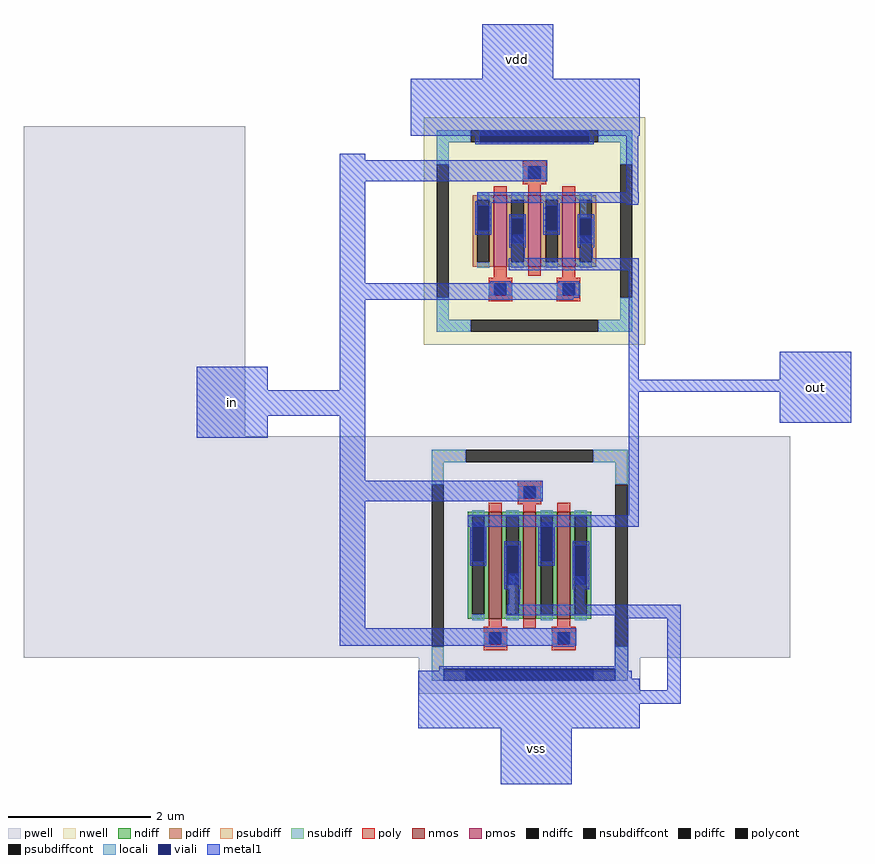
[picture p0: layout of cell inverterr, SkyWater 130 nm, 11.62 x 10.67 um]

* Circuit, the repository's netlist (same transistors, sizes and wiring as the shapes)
** sch_path: /home/Sagarikaa1/Lab1_and/xschem/inverterr.sch
.subckt inverterr vdd out in vss
*.ipin in
*.iopin vss
*.opin out
*.iopin vdd
XM1 out in vss vss sky130_fd_pr__nfet_01v8 L=0.18 W=4.5 nf=3 ad=0.87 as=0.87 pd=7.16 ps=7.16 nrd=0.0644444444444444
+ nrs=0.0644444444444444 sa=0 sb=0 sd=0 mult=1
XM2 out in vdd vdd sky130_fd_pr__pfet_01v8 L=0.18 W=3 nf=3 ad=0.58 as=0.58 pd=5.16 ps=5.16 nrd=0.0966666666666667
+ nrs=0.0966666666666667 sa=0 sb=0 sd=0 mult=1
.ends inverterr

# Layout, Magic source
magic
tech sky130A
magscale 1 2
<< pwell >>
rect -221 -346 401 525
rect -221 -968 1931 -346
<< locali >>
rect 1230 382 1246 410
rect 1342 268 1358 335
rect 1140 -862 1156 -738
<< metal1 >>
rect 1066 658 1266 812
rect 866 498 1508 658
rect 666 430 738 448
rect 666 370 1248 430
rect 666 84 738 370
rect 1470 340 1504 498
rect 1052 310 1506 340
rect 1470 305 1504 310
rect 1152 188 1182 220
rect 1148 184 1182 188
rect 1340 208 1374 218
rect 1148 154 1186 184
rect 1340 154 1376 208
rect 1140 120 1506 154
rect 666 38 1322 84
rect 264 -216 464 -150
rect 666 -216 738 38
rect 264 -288 738 -216
rect 264 -350 464 -288
rect 666 -470 738 -288
rect 1478 -187 1506 120
rect 1902 -187 2102 -108
rect 1478 -221 2102 -187
rect 666 -528 1236 -470
rect 666 -884 738 -528
rect 1478 -568 1506 -221
rect 1902 -308 2102 -221
rect 1026 -600 1506 -568
rect 1141 -818 1171 -731
rect 1323 -818 1353 -739
rect 1136 -848 1623 -818
rect 1438 -856 1623 -848
rect 666 -934 1330 -884
rect 1438 -1004 1476 -856
rect 886 -1026 1486 -1004
rect 886 -1059 1508 -1026
rect 1585 -1059 1623 -856
rect 886 -1097 1623 -1059
rect 886 -1166 1508 -1097
rect 1118 -1322 1318 -1166
use sky130_fd_pr__nfet_01v8_KBZXWL  XM1
transform 1 0 1199 0 1 -708
box -311 -360 311 360
use sky130_fd_pr__pfet_01v8_EBFWLH  XM2
transform 1 0 1213 0 1 231
box -311 -319 311 319
<< labels >>
flabel metal1 1066 612 1266 812 0 FreeSans 1600 0 0 0 vdd
port 0 nsew
flabel metal1 1118 -1322 1318 -1122 0 FreeSans 1600 0 0 0 vss
port 3 nsew
flabel metal1 264 -350 464 -150 0 FreeSans 1600 0 0 0 in
port 2 nsew
flabel metal1 1902 -308 2102 -108 0 FreeSans 1600 0 0 0 out
port 1 nsew
<< end >>

# cell sky130_fd_pr__nfet_01v8_KBZXWL: kit device sky130_fd_pr__nfet_01v8, w 1.5 l 0.18 m 1 nf 3 diffcov 100 polycov 100 guard 1 glc 1 grc 1 gtc 1 gbc 1 tbcov 100 rlcov 100 topc 1 botc 1 poverlap 0 doverlap 1 lmin 0.15 wmin 0.42 class mosfet compatible {sky130_fd_pr__nfet_01v8 sky130_fd_pr__nfet_01v8_lvt sky130_fd_bs_flash__special_sonosfet_star sky130_fd_pr__nfet_g5v0d10v5 sky130_fd_pr__nfet_05v0_nvt sky130_fd_pr__nfet_03v3_nvt} full_metal 1 conn_gates 0 viasrc 40 viadrn -40 viagate 100 viagb 100 viagr 0 viagl 0 viagt 0 doports 1

# cell sky130_fd_pr__pfet_01v8_EBFWLH: kit device sky130_fd_pr__pfet_01v8, w 1.0 l 0.18 m 1 nf 3 diffcov 100 polycov 100 guard 1 glc 1 grc 1 gtc 1 gbc 1 tbcov 100 rlcov 100 topc 1 botc 1 poverlap 0 doverlap 1 lmin 0.15 wmin 0.42 class mosfet compatible {sky130_fd_pr__pfet_01v8 sky130_fd_pr__pfet_01v8_lvt sky130_fd_pr__pfet_01v8_hvt sky130_fd_pr__pfet_g5v0d10v5} full_metal 1 conn_gates 0 viasrc 40 viadrn -40 viagate 100 viagb 0 viagr 0 viagl 0 viagt 0100 doports 1
